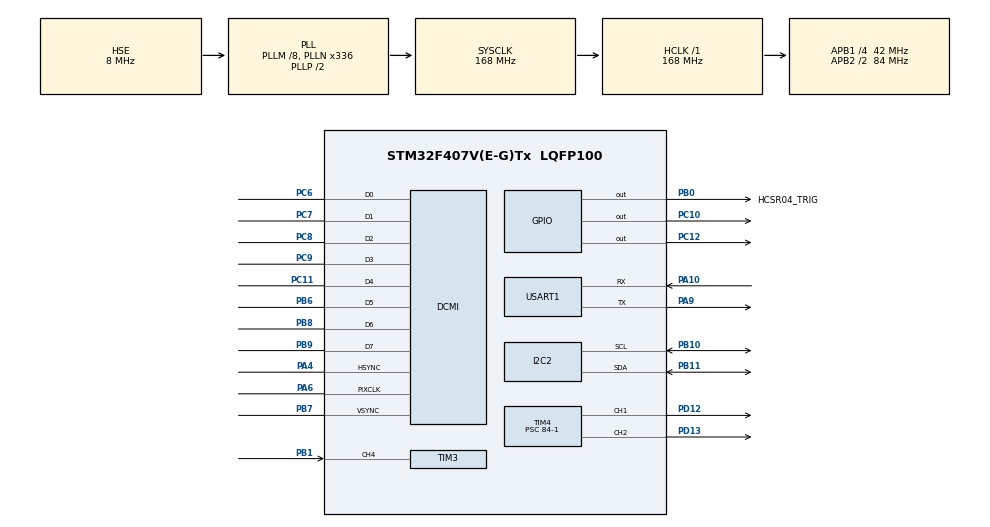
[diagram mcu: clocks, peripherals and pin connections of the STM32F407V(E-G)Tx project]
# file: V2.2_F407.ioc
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DCMI.HSPolarity=DCMI_HSPOLARITY_HIGH
DCMI.PCKPolarity=DCMI_PCKPOLARITY_RISING
DCMI.VSPolarity=DCMI_VSPOLARITY_HIGH
Dma.DCMI.0.Direction=DMA_PERIPH_TO_MEMORY
Dma.DCMI.0.FIFOMode=DMA_FIFOMODE_ENABLE
Dma.DCMI.0.FIFOThreshold=DMA_FIFO_THRESHOLD_FULL
Dma.DCMI.0.Instance=DMA2_Stream1
Dma.DCMI.0.MemBurst=DMA_MBURST_SINGLE
Dma.DCMI.0.MemDataAlignment=DMA_MDATAALIGN_WORD
Dma.DCMI.0.MemInc=DMA_MINC_ENABLE
Dma.DCMI.0.Mode=DMA_CIRCULAR
Dma.DCMI.0.PeriphBurst=DMA_PBURST_SINGLE
Dma.DCMI.0.PeriphDataAlignment=DMA_PDATAALIGN_WORD
Dma.DCMI.0.PeriphInc=DMA_PINC_DISABLE
Dma.DCMI.0.Priority=DMA_PRIORITY_LOW
Dma.Request0=DCMI
Mcu.Family=STM32F4
Mcu.Name=STM32F407V(E-G)Tx
Mcu.Package=LQFP100
NVIC.DMA2_Stream1_IRQn=true\:0\:0\:false\:false\:true\:false\:true\:true
NVIC.PriorityGroup=NVIC_PRIORITYGROUP_4
NVIC.TIM3_IRQn=true\:0\:0\:false\:false\:true\:true\:true\:true
PA10.Mode=Asynchronous
PA10.Signal=USART1_RX
PA13.Mode=Serial_Wire
PA13.Signal=SYS_JTMS-SWDIO
PA14.Mode=Serial_Wire
PA14.Signal=SYS_JTCK-SWCLK
PA4.Mode=Slave_8_bits_External_Synchro
PA4.Signal=DCMI_HSYNC
PA6.Mode=Slave_8_bits_External_Synchro
PA6.Signal=DCMI_PIXCLK
PA9.Mode=Asynchronous
PA9.Signal=USART1_TX
PB0.GPIO_Label=HCSR04_TRIG
PB0.Signal=GPIO_Output
PB1.Signal=S_TIM3_CH4
PB10.GPIO_Pu=GPIO_PULLUP
PB10.Mode=I2C
PB10.Signal=I2C2_SCL
PB11.GPIO_Pu=GPIO_PULLUP
PB11.Mode=I2C
PB11.Signal=I2C2_SDA
PB6.Mode=Slave_8_bits_External_Synchro
PB6.Signal=DCMI_D5
PB7.Mode=Slave_8_bits_External_Synchro
PB7.Signal=DCMI_VSYNC
PB8.Mode=Slave_8_bits_External_Synchro
PB8.Signal=DCMI_D6
PB9.Mode=Slave_8_bits_External_Synchro
PB9.Signal=DCMI_D7
PC10.GPIO_PuPd=GPIO_PULLUP
PC10.PinState=GPIO_PIN_SET
PC10.Signal=GPIO_Output
PC11.Mode=Slave_8_bits_External_Synchro
PC11.Signal=DCMI_D4
PC12.GPIO_PuPd=GPIO_PULLDOWN
PC12.PinState=GPIO_PIN_RESET
PC12.Signal=GPIO_Output
PC14-OSC32_IN.Mode=LSE-External-Oscillator
PC14-OSC32_IN.Signal=RCC_OSC32_IN
PC15-OSC32_OUT.Mode=LSE-External-Oscillator
PC15-OSC32_OUT.Signal=RCC_OSC32_OUT
PC6.Mode=Slave_8_bits_External_Synchro
PC6.Signal=DCMI_D0
PC7.Mode=Slave_8_bits_External_Synchro
PC7.Signal=DCMI_D1
PC8.Mode=Slave_8_bits_External_Synchro
PC8.Signal=DCMI_D2
PC9.Mode=Slave_8_bits_External_Synchro
PC9.Signal=DCMI_D3
PD12.Signal=S_TIM4_CH1
PD13.Signal=S_TIM4_CH2
PH0-OSC_IN.Mode=HSE-External-Oscillator
PH0-OSC_IN.Signal=RCC_OSC_IN
PH1-OSC_OUT.Mode=HSE-External-Oscillator
PH1-OSC_OUT.Signal=RCC_OSC_OUT
ProjectManager.HeapSize=0x4000
ProjectManager.StackSize=0x1000
ProjectManager.TargetToolchain=CMake
RCC.48MHZClocksFreq_Value=84000000
RCC.AHBFreq_Value=168000000
RCC.APB1CLKDivider=RCC_HCLK_DIV4
RCC.APB1Freq_Value=42000000
RCC.APB1TimFreq_Value=84000000
RCC.APB2CLKDivider=RCC_HCLK_DIV2
RCC.APB2Freq_Value=84000000
RCC.APB2TimFreq_Value=168000000
RCC.CortexFreq_Value=168000000
RCC.HCLKFreq_Value=168000000
RCC.HSE_VALUE=8000000
RCC.HSI_VALUE=16000000
RCC.PLLM=8
RCC.PLLN=336
RCC.PLLSourceVirtual=RCC_PLLSOURCE_HSE
RCC.SYSCLKFreq_VALUE=168000000
RCC.SYSCLKSource=RCC_SYSCLKSOURCE_PLLCLK
RCC.VCOOutputFreq_Value=336000000
SH.S_TIM3_CH4.0=TIM3_CH4,Input_Capture4_from_TI4
SH.S_TIM4_CH1.0=TIM4_CH1,PWM Generation1 CH1
SH.S_TIM4_CH2.0=TIM4_CH2,PWM Generation2 CH2
TIM3.Channel-Input_Capture4_from_TI4=TIM_CHANNEL_4
TIM3.Prescaler=84-1
TIM4.Channel-PWM\ Generation1\ CH1=TIM_CHANNEL_1
TIM4.Channel-PWM\ Generation2\ CH2=TIM_CHANNEL_2
TIM4.Period=20000-1
TIM4.Prescaler=84-1
TIM4.Pulse-PWM\ Generation1\ CH1=1500
USART1.VirtualMode=VM_ASYNC
VP_TIM3_VS_ClockSourceINT.Mode=Internal
VP_TIM4_VS_ClockSourceINT.Mode=Internal
board=custom

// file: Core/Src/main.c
/* USER CODE BEGIN Header */
/**
  ******************************************************************************
  * @file           : main.c
  * @brief          : Main program body
  ******************************************************************************
  * @attention
  *
  * Copyright (c) 2025 STMicroelectronics.
  * All rights reserved.
  *
  * This software is licensed under terms that can be found in the LICENSE file
  * in the root directory of this software component.
  * If no LICENSE file comes with this software, it is provided AS-IS.
  *
  ******************************************************************************
  */
/* USER CODE END Header */
#include "main.h"
#include "dcmi.h"
#include "dma.h"
#include "i2c.h"
#include "tim.h"
#include "usart.h"
#include "gpio.h"

/* USER CODE BEGIN Includes */
#include <stdio.h>
#include <string.h>
#include "servo_driver.h"
#include "hcsr04.h"
#include "ov2640.h"

#ifdef ENABLE_UNIT_TESTS
#include "test_suite.h"
#endif

/* USER CODE END Includes */

/* USER CODE BEGIN PV */
/* Image buffer for OV2640 (aligned for DMA) */
#define IMAGE_BUFFER_SIZE   (10 * 1024)  // 10KB buffer for JPEG
__attribute__((aligned(4))) uint8_t imageBuffer[IMAGE_BUFFER_SIZE];

/* Scan parameters */
float currentPanAngle = 0.0f;    // Current horizontal angle
float currentTiltAngle = 90.0f;  // Current vertical angle (fixed)
/* USER CODE END PV */

void SystemClock_Config(void);

int main(void)
{

  /* MCU Configuration--------------------------------------------------------*/

  /* Reset of all peripherals, Initializes the Flash interface and the Systick. */
  HAL_Init();

  /* Configure the system clock */
  SystemClock_Config();

  /* Initialize all configured peripherals */
  MX_GPIO_Init();
  MX_DMA_Init();
  MX_DCMI_Init();
  MX_I2C2_Init();
  MX_TIM3_Init();
  MX_TIM4_Init();
  MX_USART1_UART_Init();
  /* USER CODE BEGIN 2 */

  /* ========================================
   * Application Initialization
   * ======================================== */

  printf("\r\n");
  printf("========================================\r\n");
  printf(" STM32F407 Smart Gimbal System\r\n");
  printf(" Firmware Version: 1.0\r\n");
  printf("========================================\r\n\r\n");

#ifdef ENABLE_UNIT_TESTS
  /* Run Unit Tests First */
  Run_All_Tests();
#endif

  /* 1. Initialize Servo Motors */
  printf("[INIT] Initializing servos...\r\n");
  Servo_Init();
  printf("[OK] Servos initialized\r\n");

  /* 2. Initialize HC-SR04 Ultrasonic Sensor */
  printf("[INIT] Initializing ultrasonic sensor...\r\n");
  HCSR04_Init();
  printf("[OK] Ultrasonic sensor initialized\r\n");

  /* 3. Initialize OV2640 Camera */
  printf("[INIT] Initializing OV2640 camera...\r\n");
  OV2640_Status_t camStatus = OV2640_Init(OV2640_FORMAT_JPEG_QQVGA);
  if (camStatus == OV2640_OK) {
      printf("[OK] OV2640 initialized (JPEG QQVGA 160x120)\r\n");
  } else {
      printf("[ERROR] OV2640 init failed (code: %d)\r\n", camStatus);
  }

  printf("\r\n[SYSTEM READY]\r\n\r\n");

  /* USER CODE END 2 */

  /* Infinite loop */
  while (1)
  {

    /* USER CODE BEGIN 3 */

    /* ========================================
     * Main Scanning Loop
     * ======================================== */

    /* Step 1: Move gimbal to new position */
    Servo_SetAngle(SERVO_PAN_CHANNEL, currentPanAngle);
    Servo_SetAngle(SERVO_TILT_CHANNEL, currentTiltAngle);
    HAL_Delay(300);  // Wait for servo to stabilize

    /* Step 2: Trigger ultrasonic distance measurement */
    HCSR04_Trigger();

    /* Wait for measurement to complete (non-blocking check with micro-delays) */
    uint32_t timeout = 0;
    while (HCSR04_GetStatus() == HCSR04_MEASURING && timeout < 10000) {
        timeout++;
        /* Add small delay to reduce CPU load during polling (10us per iteration) */
        for (volatile uint32_t i = 0; i < 168; i++);  // ~10us at 168MHz
    }

    /* Step 3: Read distance */
    float distance = 0.0f;
    if (HCSR04_GetStatus() == HCSR04_READY) {
        distance = HCSR04_GetDistance();
    }

    /* Step 4: Print telemetry data */
    printf("Pan: %.1f deg | Tilt: %.1f deg | Distance: %.1f cm\r\n",
           currentPanAngle, currentTiltAngle, distance);

    /* Step 5: (Optional) Trigger camera capture and transmit image data */

    if (camStatus == OV2640_OK) {
        memset(imageBuffer, 0, IMAGE_BUFFER_SIZE);
        if (OV2640_StartCapture(imageBuffer, IMAGE_BUFFER_SIZE) == OV2640_OK) {
            HAL_Delay(100);  // Wait for capture (TODO: replace with callback)
            OV2640_StopCapture();

            printf("  [Camera] Image captured\r\n");

            /* Transmit JPEG image data over UART */
            printf("IMG_START\r\n");

            /* Find actual JPEG size by looking for JPEG end marker (0xFF 0xD9) */
            uint32_t jpegSize = 0;
            for (uint32_t i = 0; i < IMAGE_BUFFER_SIZE - 1; i++) {
                if (imageBuffer[i] == 0xFF && imageBuffer[i+1] == 0xD9) {
                    jpegSize = i + 2;  // Include end marker
                    break;
                }
            }

            /* If no end marker found, send entire buffer */
            if (jpegSize == 0) {
                jpegSize = IMAGE_BUFFER_SIZE;
            }

            /* Send image data in chunks for better reliability */
            #define UART_CHUNK_SIZE 256
            for (uint32_t i = 0; i < jpegSize; i += UART_CHUNK_SIZE) {
                uint32_t chunkSize = (jpegSize - i) > UART_CHUNK_SIZE ? UART_CHUNK_SIZE : (jpegSize - i);
                HAL_UART_Transmit(&huart1, &imageBuffer[i], chunkSize, 1000);
            }

            printf("IMG_END (size: %lu bytes)\r\n", jpegSize);
        }
    }

    /* Step 6: Update pan angle for next scan (0 to 180 degrees) */
    currentPanAngle += 30.0f;  // Increment by 30 degrees
    if (currentPanAngle > 180.0f) {
        currentPanAngle = 0.0f;
        printf("\r\n--- Scan cycle complete, restarting ---\r\n\r\n");
    }

    /* Delay before next measurement */
    HAL_Delay(500);
  }
  /* USER CODE END 3 */
}

void SystemClock_Config(void)
{
  RCC_OscInitTypeDef RCC_OscInitStruct = {0};
  RCC_ClkInitTypeDef RCC_ClkInitStruct = {0};

  /** Configure the main internal regulator output voltage
  */
  __HAL_RCC_PWR_CLK_ENABLE();
  __HAL_PWR_VOLTAGESCALING_CONFIG(PWR_REGULATOR_VOLTAGE_SCALE1);

  /** Initializes the RCC Oscillators according to the specified parameters
  * in the RCC_OscInitTypeDef structure.
  */
  RCC_OscInitStruct.OscillatorType = RCC_OSCILLATORTYPE_HSE;
  RCC_OscInitStruct.HSEState = RCC_HSE_ON;
  RCC_OscInitStruct.PLL.PLLState = RCC_PLL_ON;
  RCC_OscInitStruct.PLL.PLLSource = RCC_PLLSOURCE_HSE;
  RCC_OscInitStruct.PLL.PLLM = 8;
  RCC_OscInitStruct.PLL.PLLN = 336;
  RCC_OscInitStruct.PLL.PLLP = RCC_PLLP_DIV2;
  RCC_OscInitStruct.PLL.PLLQ = 4;
  if (HAL_RCC_OscConfig(&RCC_OscInitStruct) != HAL_OK)
  {
    Error_Handler();
  }

  /** Initializes the CPU, AHB and APB buses clocks
  */
  RCC_ClkInitStruct.ClockType = RCC_CLOCKTYPE_HCLK|RCC_CLOCKTYPE_SYSCLK
                              |RCC_CLOCKTYPE_PCLK1|RCC_CLOCKTYPE_PCLK2;
  RCC_ClkInitStruct.SYSCLKSource = RCC_SYSCLKSOURCE_PLLCLK;
  RCC_ClkInitStruct.AHBCLKDivider = RCC_SYSCLK_DIV1;
  RCC_ClkInitStruct.APB1CLKDivider = RCC_HCLK_DIV4;
  RCC_ClkInitStruct.APB2CLKDivider = RCC_HCLK_DIV2;

  if (HAL_RCC_ClockConfig(&RCC_ClkInitStruct, FLASH_LATENCY_5) != HAL_OK)
  {
    Error_Handler();
  }
}

void Error_Handler(void)
{
  __disable_irq();
  while (1)
  {
  }
}
